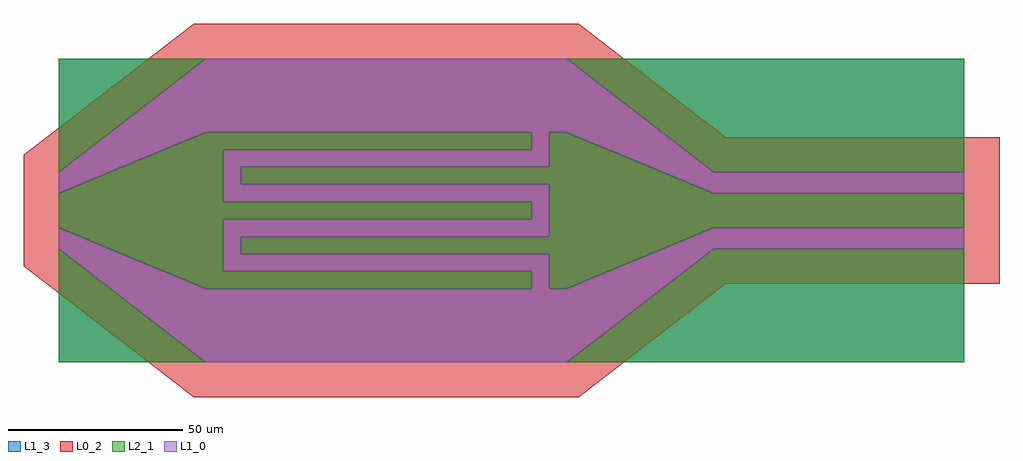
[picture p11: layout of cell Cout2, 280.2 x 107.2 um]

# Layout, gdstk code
import gdstk
lib = gdstk.Library(unit=1e-6, precision=1e-09)
def R(c, l, rs):  # rectangles x0, y0, x1, y1
    for r in rs: c.add(gdstk.rectangle(r[:2], r[2:], *l))
def P(c, l, *ps):  # polygons
    for p in ps: c.add(gdstk.Polygon(p, *l))
L0_2 = (0, 2)
L1_0 = (1, 0)
L1_3 = (1, 3)
L2_1 = (2, 1)

cout2 = lib.new_cell('Cout2')
P(cout2, L0_2, [(-91.198,-53.6),(-140.1,-15.972),(-140.1,15.972),(-91.198,53.6),(19.264,53.6),(61.502,21.1),(140.1,21.1),(140.1,-21.1),(61.502,-21.1),(19.264,-53.6)])
P(cout2, L1_0, [(-87.762,-43.5),(-130,-11),(-130,-5),(-87.717,-22.5),(5.783,-22.5),(5.783,-17.5),(-82.717,-17.5),(-82.717,-2.5),(5.783,-2.5),(5.783,2.5),(-82.717,2.5),(-82.717,17.5),(5.783,17.5),(5.783,22.5),(-87.717,22.5),(-130,5),(-130,11),(-87.762,43.5),(15.828,43.5),(58.066,11),(130,11),(130,5),(58.066,5),(15.783,22.5),(10.783,22.5),(10.783,12.5),(-77.717,12.5),(-77.717,7.5),(10.783,7.5),(10.783,-7.5),(-77.717,-7.5),(-77.717,-12.5),(10.783,-12.5),(10.783,-22.5),(15.783,-22.5),(58.066,-5),(130,-5),(130,-11),(58.066,-11),(15.828,-43.5)])
R(cout2, L1_3, [(-130,-43.5,130,43.5)])
P(cout2, L2_1, [(-130,11),(-130,43.5),(-87.762,43.5)],
  [(-130,-43.5),(-130,-11),(-87.762,-43.5)],
  [(-87.717,-22.5),(-130,-5),(-130,5),(-87.717,22.5),(5.783,22.5),(5.783,17.5),(-82.717,17.5),(-82.717,2.5),(5.783,2.5),(5.783,-2.5),(-82.717,-2.5),(-82.717,-17.5),(5.783,-17.5),(5.783,-22.5)],
  [(10.783,-22.5),(10.783,-12.5),(-77.717,-12.5),(-77.717,-7.5),(10.783,-7.5),(10.783,7.5),(-77.717,7.5),(-77.717,12.5),(10.783,12.5),(10.783,22.5),(15.783,22.5),(58.066,5),(130,5),(130,-5),(58.066,-5),(15.783,-22.5)],
  [(15.828,-43.5),(58.066,-11),(130,-11),(130,-43.5)],
  [(58.066,11),(15.828,43.5),(130,43.5),(130,11)])

lib.write_gds('Cout2.gds')
